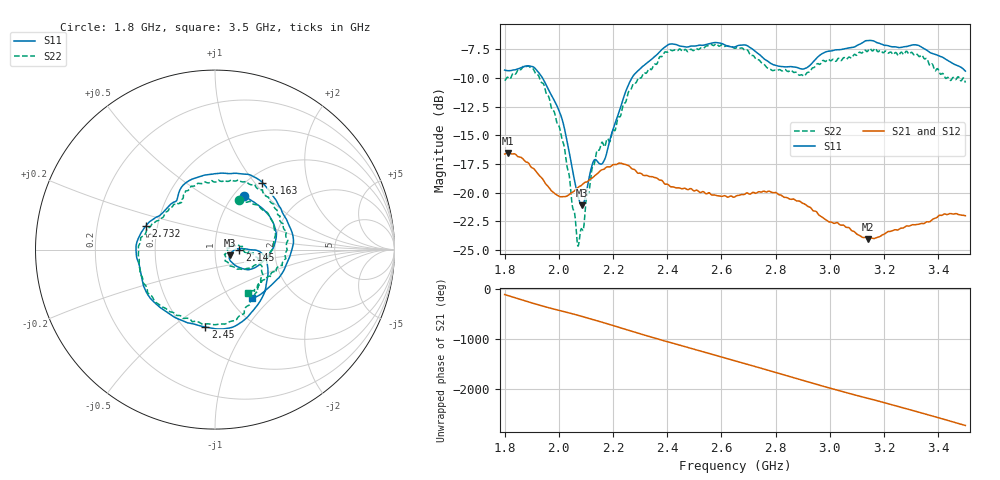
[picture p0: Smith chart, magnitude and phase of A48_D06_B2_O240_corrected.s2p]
! Created with skrf 1.9.0 (http://scikit-rf.org).
# Hz S RI R 50.0
!freq ReS11 ImS11 ReS21 ImS21 ReS12 ImS12 ReS22 ImS22
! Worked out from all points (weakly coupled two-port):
!   1601 points, 1.8 GHz to 3.5 GHz, reference 50 ohm
!   highest |S21| = -16.54 dB at 1.812 GHz (marker M1); lowest = -24.0 dB at 3.142 GHz (marker M2)
!   lowest |S11| = -21.1 dB at 2.086 GHz (marker M3), VSWR 1.19, Z = 58.8 - j3.79 ohm
!   |S11| at or under -10 dB: 1.94 GHz to 2.27 GHz (329.8 MHz wide, 15.7 % of centre)
!   |S22| runs from -24.6 to -7.0 dB; largest |S21 - S12| = 0.0025
!   S11 on the Smith chart (normalised r, x): 1.8 GHz: 1.11, +0.76; 2.145 GHz: 1.31, -0.01; 2.45 GHz: 0.63, -0.67; 2.732 GHz: 0.43, +0.14; 3.163 GHz: 1.16, +1.10; 3.5 GHz: 1.26, -0.76
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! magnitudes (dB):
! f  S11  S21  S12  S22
! 1.8 GHz  -9.3  -16.6  -16.6  -10.2
! 1.812 GHz  -9.4  -16.5  -16.5  -9.9
! 1.882 GHz  -9.0  -17.3  -17.3  -9.0
! 1.942 GHz  -10.1  -18.9  -18.9  -10.5
! 2.01 GHz  -13.5  -20.3  -20.3  -15.2
! 2.068 GHz  -20.0  -19.6  -19.6  -24.3
! 2.084 GHz  -21.1  -19.3  -19.3  -23.1
! 2.086 GHz  -21.1  -19.3  -19.3  -23.2
! 2.125 GHz  -17.4  -18.7  -18.7  -17.7
! 2.145 GHz  -17.4  -18.3  -18.2  -16.3
! 2.169 GHz  -17.1  -17.9  -17.9  -16.0
! 2.268 GHz  -10.1  -17.9  -17.8  -10.9
! 2.367 GHz  -7.8  -18.8  -18.8  -8.4
! 2.45 GHz  -7.2  -19.6  -19.6  -7.5
! 2.65 GHz  -7.3  -20.4  -20.3  -7.4
! 2.732 GHz  -7.8  -20.0  -20.0  -8.4
! 2.934 GHz  -8.7  -21.4  -21.4  -9.2
! 3.142 GHz  -6.7  -24.0  -23.9  -7.6
! 3.163 GHz  -6.8  -24.0  -23.9  -7.5
! 3.217 GHz  -7.2  -23.4  -23.3  -7.8
! 3.325 GHz  -7.1  -22.8  -22.7  -8.0
! 3.5 GHz  -9.4  -22.0  -22.0  -10.4
